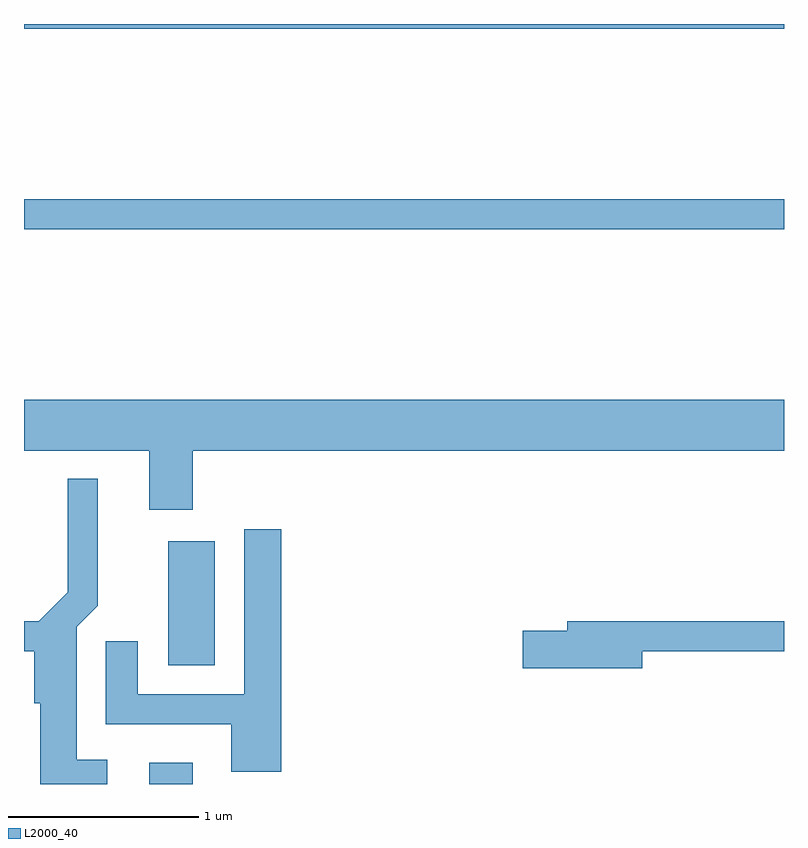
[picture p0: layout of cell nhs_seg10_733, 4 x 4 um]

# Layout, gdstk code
import gdstk
lib = gdstk.Library(unit=1e-6, precision=1e-09)
def R(c, l, rs):  # rectangles x0, y0, x1, y1
    for r in rs: c.add(gdstk.rectangle(r[:2], r[2:], *l))
def P(c, l, *ps):  # polygons
    for p in ps: c.add(gdstk.Polygon(p, *l))
L2000_40 = (2000, 40)

nhs_seg10_733 = lib.new_cell('nhs_seg10_733')
R(nhs_seg10_733, L2000_40, [(206.271,2196.522,206.499,2196.634), (206.371,2197.146,206.614,2197.799), (205.611,2199.441,209.611,2199.599), (205.611,2200.496,209.611,2200.522)])
P(nhs_seg10_733, L2000_40, [(206.499,2198.276),(209.611,2198.276),(209.611,2198.544),(205.611,2198.544),(205.611,2198.276),(206.271,2198.276),(206.271,2197.966),(206.499,2197.966)],
  [(206.048,2196.649),(205.889,2196.649),(205.889,2197.349),(205.999,2197.459),(205.999,2198.128),(205.841,2198.128),(205.841,2197.532),(205.689,2197.379),(205.611,2197.379),(205.611,2197.221),(205.666,2197.221),(205.666,2196.946),(205.696,2196.946),(205.696,2196.522),(206.048,2196.522)],
  [(206.964,2197.864),(206.771,2197.864),(206.771,2196.994),(206.209,2196.994),(206.209,2197.273),(206.041,2197.273),(206.041,2196.836),(206.701,2196.836),(206.701,2196.586),(206.964,2196.586)],
  [(208.864,2197.221),(209.611,2197.221),(209.611,2197.379),(208.471,2197.379),(208.471,2197.329),(208.236,2197.329),(208.236,2197.131),(208.864,2197.131)])

lib.write_gds('nhs_seg10_733.gds')
